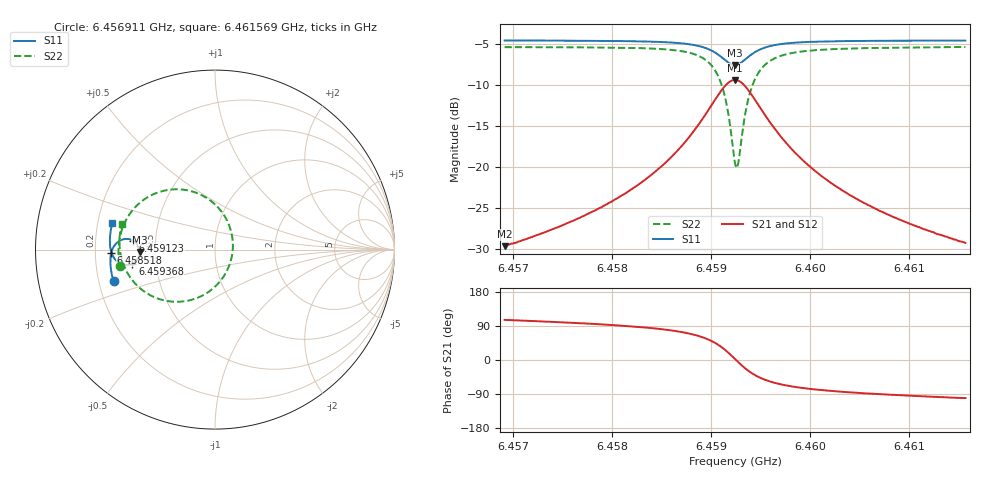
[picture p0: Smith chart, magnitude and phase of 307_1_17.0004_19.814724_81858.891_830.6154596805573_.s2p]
#  HZ  S  RI  R  50.00
! Rohde & Schwarz Vector Network Analyzer
! Rohde-Schwarz,ZNB20-2Port,1311601062101988,3.16
! Created: UTC 3/20/2024, 11:05:50 PM
! freq[Hz]  re:S11  im:S11  re:S21  im:S21  re:S12  im:S12  re:S22  im:S22
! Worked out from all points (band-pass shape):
!   401 points, 6.456911 GHz to 6.461569 GHz, reference 50 ohm
!   highest |S21| = -9.35 dB at 6.45924 GHz (marker M1); lowest = -29.6 dB at 6.456911 GHz (marker M2)
!   |S21| within 3 dB of the highest: 6.459007 GHz to 6.459472 GHz (465 kHz wide, 0.0072 % of centre)
!   lowest |S11| = -7.5 dB at 6.45924 GHz (marker M3), VSWR 2.45, Z = 20.4 - j0.626 ohm
!   |S11| at or under -10 dB: nowhere
!   |S22| runs from -20.1 to -5.3 dB; largest |S21 - S12| = 0.013
!   S11 on the Smith chart (normalised r, x): 6.456911 GHz: 0.26, -0.14; 6.458518 GHz: 0.27, -0.02; 6.459123 GHz: 0.37, +0.05; 6.459368 GHz: 0.37, -0.07; 6.461569 GHz: 0.26, +0.12
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6.4569106e9  -0.5649 -0.1776  -0.00909 0.0318  -0.00726 0.0319  -0.5314 -0.0895
6.4576908e9  -0.5798 -0.1097  -0.0059 0.0497  -0.00341 0.0491  -0.5377 0.000772
6.4581217e9  -0.5831 -0.0667  -0.000121 0.0688  0.00308 0.0676  -0.5301 0.0679
6.4584711e9  -0.5797 -0.0253  0.0134 0.0974  0.0174 0.0947  -0.5056 0.145
6.4585176e9  -0.5783 -0.0189  0.0167 0.1027  0.0207 0.0997  -0.4994 0.158
6.4587273e9  -0.5664 0.013  0.0423 0.1341  0.0464 0.1294  -0.4515 0.229
6.4588786e9  -0.5453 0.0394  0.0844 0.1643  0.0877 0.1578  -0.3743 0.2925
6.45903e9  -0.4996 0.0591  0.175 0.1835  0.1761 0.176  -0.2092 0.3362
6.4591232e9  -0.4555 0.0495  0.2638 0.153  0.2641 0.1469  -0.0457 0.2872
6.4591698e9  -0.4343 0.031  0.3071 0.1108  0.3085 0.1055  0.0359 0.2124
6.4592397e9  -0.4194 -0.0126  0.3404 0.0153  0.3437 0.00821  0.0995 0.036
6.4592513e9  -0.4198 -0.0206  0.3403 -0.00214  0.3437 -0.00987  0.0994 0.00294
6.4592746e9  -0.4234 -0.036  0.3349 -0.0364  0.3384 -0.0455  0.0884 -0.0614
6.4593328e9  -0.4437 -0.0668  0.2972 -0.1075  0.2985 -0.1198  0.0127 -0.1944
6.4593678e9  -0.4604 -0.0781  0.2654 -0.1361  0.2646 -0.1492  -0.0511 -0.2456
6.4594609e9  -0.5033 -0.0848  0.1821 -0.1672  0.1758 -0.1785  -0.2166 -0.2907
6.4596123e9  -0.5469 -0.0645  0.0955 -0.154  0.0871 -0.16  -0.3807 -0.2425
6.4597754e9  -0.5683 -0.037  0.0511 -0.1267  0.0436 -0.1293  -0.4597 -0.1717
6.4600199e9  -0.581 -0.00135  0.0223 -0.0957  0.0165 -0.0962  -0.507 -0.0905
6.4603693e9  -0.5858 0.0398  0.00645 -0.0693  0.00235 -0.0688  -0.5281 -0.0123
6.4608002e9  -0.5837 0.0828  -0.00132 -0.0511  -0.00412 -0.0502  -0.5321 0.0555
6.4615688e9  -0.5716 0.1508  -0.00627 -0.0341  -0.00798 -0.0331  -0.5205 0.1451
